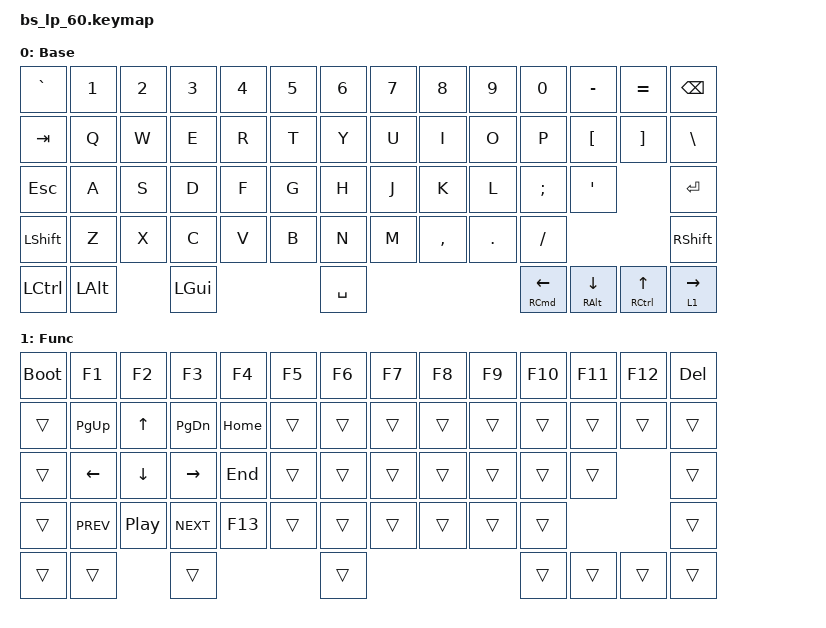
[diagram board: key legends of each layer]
/*
 * Copyright (c) 2021 Cole Smith
 *
 * SPDX-License-Identifier: MIT
 */

#include <dt-bindings/zmk/reset.h>
#include <behaviors.dtsi>
#include <dt-bindings/zmk/keys.h>

&mt { quick-tap-ms = <250>; };

&lt { quick-tap-ms = <250>; };

/ {
    keymap {
        compatible = "zmk,keymap";

        Base {
            label = "Base";
            bindings = <
&kp GRAVE  &kp N1    &kp N2  &kp N3    &kp N4  &kp N5  &kp N6     &kp N7  &kp N8     &kp N9   &kp N0               &kp MINUS      &kp EQUAL     &kp BSPC
&kp TAB    &kp Q     &kp W   &kp E     &kp R   &kp T   &kp Y      &kp U   &kp I      &kp O    &kp P                &kp LBKT       &kp RBKT      &kp BSLH
&kp ESC    &kp A     &kp S   &kp D     &kp F   &kp G   &kp H      &kp J   &kp K      &kp L    &kp SEMI             &kp SQT                      &kp RET
&kp LSHFT  &kp Z     &kp X   &kp C     &kp V   &kp B   &kp N      &kp M   &kp COMMA  &kp DOT  &kp FSLH                                          &kp RSHFT
&kp LCTRL  &kp LALT          &kp LGUI                  &kp SPACE                              &mt RCMD LEFT_ARROW  &mt RALT DOWN  &mt RCTRL UP  &lt 1 RIGHT
            >;
        };

        Function {
            label = "Func";
            bindings = <
&bootloader  &kp F1      &kp F2            &kp F3      &kp F4    &kp F5  &kp F6  &kp F7  &kp F8  &kp F9  &kp F10  &kp F11  &kp F12  &kp DEL
&trans       &kp PG_UP   &kp UP            &kp PG_DN   &kp HOME  &trans  &trans  &trans  &trans  &trans  &trans   &trans   &trans   &trans
&trans       &kp LEFT    &kp DOWN          &kp RIGHT   &kp END   &trans  &trans  &trans  &trans  &trans  &trans   &trans            &trans
&trans       &kp C_PREV  &kp C_PLAY_PAUSE  &kp C_NEXT  &kp F13   &trans  &trans  &trans  &trans  &trans  &trans                     &trans
&trans       &trans                        &trans                        &trans                          &trans   &trans   &trans   &trans
            >;
        };
    };
};
